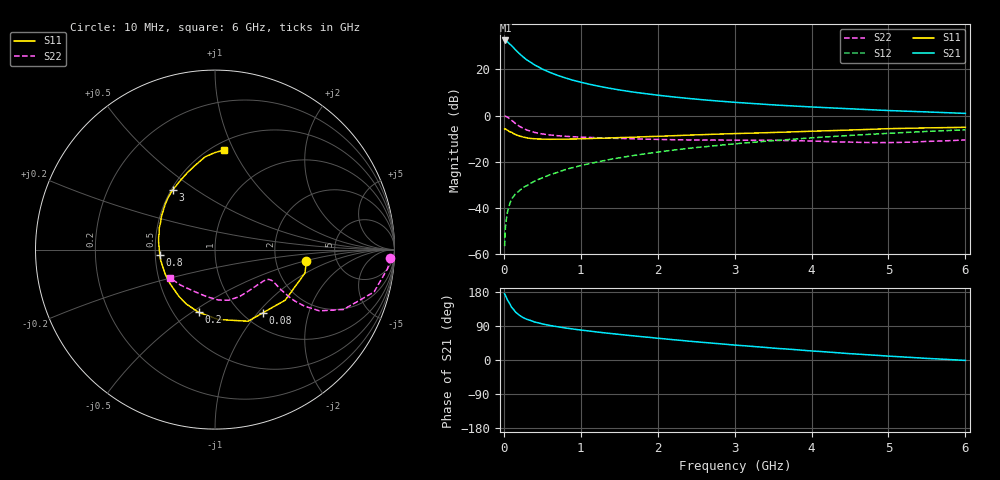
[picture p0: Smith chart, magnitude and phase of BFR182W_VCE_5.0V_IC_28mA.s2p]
! Infineon Technologies  Discrete & RF Semiconductors
! BFR182W
! VCE =  5.0 V,  IC =  28 mA
! Common Emitter S-Parameters:  Jan 2017
# GHz  S  MA  R  50
!  f  S11  S21  S12  S22
! GHz  MAG  ANG  MAG  ANG  MAG  ANG  MAG  ANG
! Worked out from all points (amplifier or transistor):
!   77 points, 10 MHz to 6 GHz, reference 50 ohm
!   highest |S21| = 32.4 dB at 20 MHz (marker M1)
!   |S21| within 3 dB of that: start of sweep to 122.1 MHz
!   unconditionally stable (mu >= 1): 683.2 MHz to 2.236 GHz
!   at 130 MHz: K = 0.47, MSG = 32.0 dB, |S12| = -34.8 dB
!   at 2.2 GHz: K = 1.00, MAG = 11.2 dB, |S12| = -15.0 dB
!   at 6 GHz: K = 0.86, MSG = 3.5 dB, |S12| = -6.2 dB
!   S11 on the Smith chart (normalised r, x): 10 MHz: 3.00, -0.54; 80 MHz: 1.22, -1.07; 200 MHz: 0.66, -0.53; 800 MHz: 0.53, -0.04; 3 GHz: 0.51, +0.40; 6 GHz: 0.57, +0.92
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0.01  0.5136 -7.4  41.77 174.7  0.0015 86.4  0.9772 -2.7
0.02  0.5177 -14.7  41.87 170.4  0.0037 93.4  0.9678 -6.2
0.05  0.4821 -35.8  38.8 157.1  0.0086 76.7  0.917 -14.9
0.08  0.4419 -52.8  34.58 147.2  0.0127 73.5  0.8377 -20.6
0.1  0.4394 -65.2  32.46 139.4  0.0155 72.3  0.7902 -25.0
0.15  0.3897 -87.5  26.46 127.0  0.0201 66.4  0.6739 -30.4
0.2  0.3613 -104.5  21.86 118.4  0.0235 66.7  0.5896 -32.3
0.25  0.3427 -117.7  18.5 111.9  0.0279 65.1  0.5292 -32.8
0.3  0.3292 -127.6  15.87 107.3  0.0305 66.5  0.4847 -32.5
0.4  0.3146 -142.6  12.38 100.2  0.0382 68.3  0.431 -31.3
0.5  0.3093 -153.5  10.09 95.2  0.0449 69.0  0.3995 -30.1
0.6  0.3062 -162.0  8.524 91.1  0.0525 70.1  0.3796 -29.2
0.8  0.3087 -174.2  6.489 84.5  0.0679 72.1  0.3558 -28.6
0.9  0.3103 -179.7  5.782 81.7  0.0751 71.9  0.3482 -28.8
1.1  0.3172 172.1  4.792 76.7  0.0903 72.4  0.3369 -29.7
1.5  0.3331 159.0  3.574 67.6  0.1215 70.9  0.3195 -33.9
2.1  0.3599 143.6  2.636 55.6  0.1701 67.7  0.3019 -44.5
3  0.4067 125.6  1.93 39.4  0.2438 61.1  0.2935 -64.6
3.1  0.4105 123.8  1.881 38.0  0.2521 60.2  0.2924 -66.7
4.1  0.4625 107.8  1.502 22.6  0.3368 51.4  0.2773 -88.8
5.1  0.5233 94.9  1.263 9.1  0.4202 41.7  0.2613 -120.5
6  0.5566 84.7  1.111 -1.1  0.4907 32.3  0.2968 -148.0
